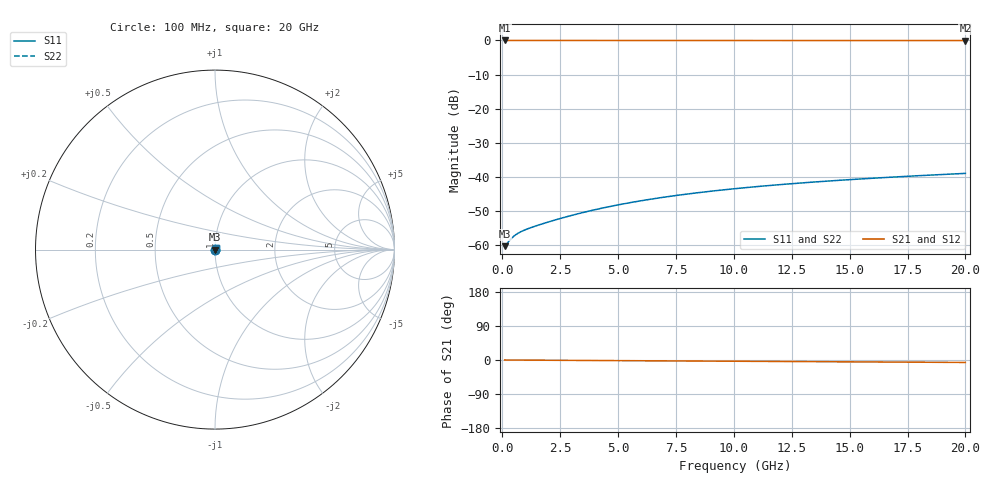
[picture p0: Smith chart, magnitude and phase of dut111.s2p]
! Touchstone file exported from HFSS 2026.1.0
!  File:  C:/ffzhzh/LocalFiles/Ansys_Project_Files/temp_train_BSMRDL_111_1782985849_42984.aedt
!  Generated:  05:52:05 PM Jul  2, 2026
!  Design:  BSMRDL
!  Project:  temp_train_BSMRDL_111_1782985849_42984
! Variables:
!  h_bsmrdl = 2.86um
!  h_ox = 20um
!  h_rdl = 5um
!  h_sub = 80um
!  h_tmrdl = 5um
!  h_tsv = 80um
!  h_via = 3um
!  l_bsmrdl = 104um
!  l_sub = 504um
!  l_tmrdl = 200um
!  m_sub = 200um
!  pitch = 23.58um
!  r_tsv = 6um
!  s_tmrdl = 10um
!  w_bsmrdl = 19.73um
!  w_sub = 500um
!  w_tmrdl = 12um
!  x_tsv_center1 = 206um
!  x_tsv_center2 = 329.73um
!  x_tsv_center3 = 541.73um
!  x_tsv_center4 = 665.46um
!  x_tsv_center5 = 877.46um
!  x_tsv_center6 = 1001.19um
# GHz S MA R 50.000000
! Terminal data exported
! Port[1] = BSM_RDL1_1_T1
! Port[2] = BSM_RDL1_1_T2
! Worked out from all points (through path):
!   200 points, 100 MHz to 20 GHz, reference 50 ohm
!   highest |S21| = -0.01 dB at 100 MHz (marker M1); lowest = 0.0 dB at 20 GHz (marker M2)
!   lowest |S11| = -60.4 dB at 100 MHz (marker M3), VSWR 1.00, Z = 50.1 + j0.017 ohm
!   |S11| at or under -10 dB: start of sweep to end of sweep
!   |S22| runs from -60.4 to -39.0 dB; largest |S21 - S12| = 8.4e-15
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0.1  0.0009593 10.2  0.9991 -0.0  0.9991 -0.0  0.0009593 10.2
! Gamma 0 0 0 0
! Port Impedance 50 0 50 0
0.2  0.001044 17.9  0.999 -0.1  0.999 -0.1  0.001044 17.9
0.4  0.001252 25.9  0.9989 -0.1  0.9989 -0.1  0.001252 25.9
0.5  0.001345 27.9  0.9988 -0.2  0.9988 -0.2  0.001345 27.9
0.6  0.001427 29.3  0.9988 -0.2  0.9988 -0.2  0.001427 29.4
0.7  0.001498 30.6  0.9987 -0.2  0.9987 -0.2  0.001498 30.6
0.9  0.00162 32.8  0.9986 -0.3  0.9986 -0.3  0.00162 32.8
1.3  0.001827 37.1  0.9985 -0.4  0.9985 -0.4  0.001827 37.1
2  0.002178 44.0  0.9984 -0.7  0.9984 -0.7  0.002178 44.0
2.7  0.00255 49.2  0.9984 -0.9  0.9984 -0.9  0.00255 49.2
3.5  0.002999 53.5  0.9983 -1.2  0.9983 -1.2  0.002999 53.5
4.3  0.003461 56.5  0.9982 -1.4  0.9982 -1.4  0.003461 56.5
5.1  0.003929 58.5  0.998 -1.7  0.998 -1.7  0.003929 58.5
5.9  0.004395 59.8  0.9979 -2.0  0.9979 -2.0  0.004395 59.8
6.8  0.004914 60.8  0.9978 -2.2  0.9978 -2.2  0.004914 60.8
8.4  0.005811 61.7  0.9975 -2.8  0.9975 -2.8  0.005811 61.7
10.1  0.006718 61.9  0.9972 -3.3  0.9972 -3.3  0.006718 61.9
11.7  0.007528 61.9  0.9969 -3.8  0.9969 -3.8  0.007528 61.9
13.4  0.008346 61.6  0.9966 -4.4  0.9966 -4.4  0.008346 61.6
15  0.00908 61.4  0.9963 -4.9  0.9963 -4.9  0.00908 61.4
16.7  0.009829 61.0  0.996 -5.4  0.996 -5.4  0.009828 61.1
20  0.01121 60.4  0.9955 -6.5  0.9955 -6.5  0.01121 60.5
